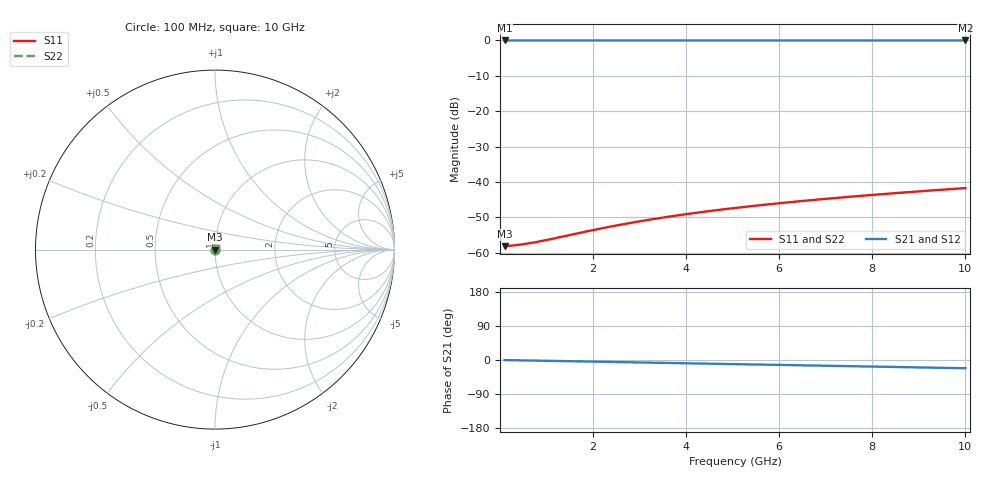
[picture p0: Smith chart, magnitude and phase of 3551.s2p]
# Hz S RI R 50.00
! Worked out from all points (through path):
!   100 points, 100 MHz to 10 GHz, reference 50 ohm
!   highest |S21| = -0.01 dB at 100 MHz (marker M1); lowest = 0.0 dB at 10 GHz (marker M2)
!   group delay of S21, straight-line fit = 6.03 ps
!   lowest |S11| = -58.2 dB at 100 MHz (marker M3), VSWR 1.00, Z = 50.1 + j0.00795 ohm
!   |S11| at or under -10 dB: start of sweep to end of sweep
!   |S22| runs from -58.2 to -41.7 dB; largest |S21 - S12| = 0
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1e8  0.00123 7.93e-05  0.9988 -0.00375  0.9988 -0.00375  0.00123 7.93e-05
3e8  0.00125 0.000238  0.9987 -0.0113  0.9987 -0.0113  0.00125 0.000238
4e8  0.00125 0.000316  0.9986 -0.015  0.9986 -0.015  0.00125 0.000316
5e8  0.00126 0.000395  0.9986 -0.0188  0.9986 -0.0188  0.00126 0.000395
7e8  0.00127 0.000553  0.9984 -0.0263  0.9984 -0.0263  0.00127 0.000553
9e8  0.00128 0.00071  0.9981 -0.0338  0.9981 -0.0338  0.00128 0.00071
1.1e9  0.00129 0.000866  0.9978 -0.0413  0.9978 -0.0413  0.00129 0.000866
1.8e9  0.00136 0.00141  0.9964 -0.0675  0.9964 -0.0675  0.00136 0.00141
2.2e9  0.00141 0.00171  0.9952 -0.0825  0.9952 -0.0825  0.00141 0.00171
2.6e9  0.00146 0.00201  0.9939 -0.0975  0.9939 -0.0975  0.00146 0.00201
3e9  0.00153 0.00231  0.9923 -0.1125  0.9923 -0.1125  0.00153 0.00231
3.4e9  0.0016 0.0026  0.9905 -0.1274  0.9905 -0.1274  0.0016 0.0026
3.8e9  0.00169 0.0029  0.9884 -0.1424  0.9884 -0.1424  0.00169 0.0029
4.2e9  0.00178 0.00318  0.9861 -0.1573  0.9861 -0.1573  0.00178 0.00318
4.6e9  0.00188 0.00347  0.9836 -0.1722  0.9836 -0.1722  0.00188 0.00347
5.1e9  0.00202 0.00382  0.9802 -0.1908  0.9802 -0.1908  0.00202 0.00382
5.9e9  0.00226 0.00437  0.9739 -0.2204  0.9739 -0.2204  0.00226 0.00437
6.7e9  0.00255 0.00491  0.9667 -0.2499  0.9667 -0.2499  0.00255 0.00491
7.5e9  0.00287 0.00544  0.9586 -0.2792  0.9586 -0.2792  0.00287 0.00544
8.4e9  0.00327 0.00603  0.9484 -0.3119  0.9484 -0.3119  0.00327 0.00603
9.2e9  0.00368 0.00655  0.9384 -0.3408  0.9384 -0.3408  0.00368 0.00655
1e10  0.00412 0.00706  0.9275 -0.3694  0.9275 -0.3694  0.00412 0.00706
